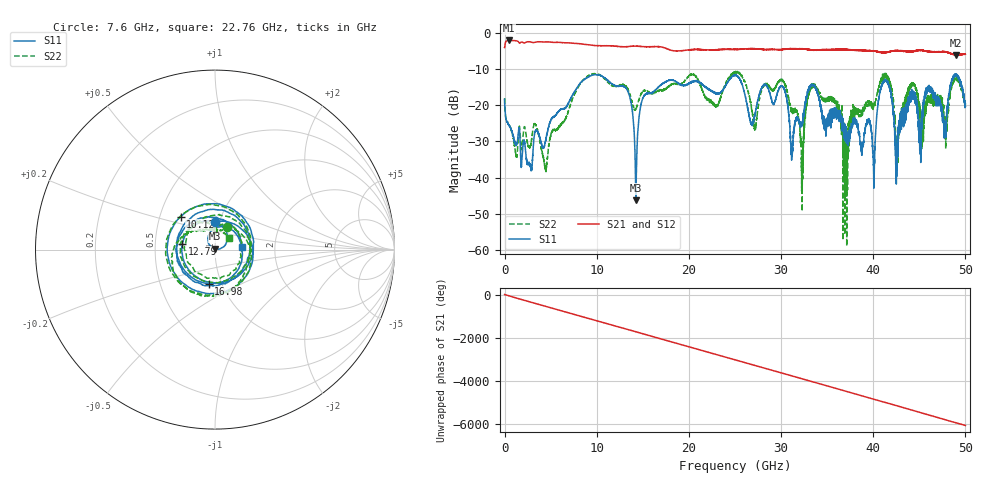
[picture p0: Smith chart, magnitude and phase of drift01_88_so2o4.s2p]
!Created with skrf (http://scikit-rf.org).
# Hz S RI R 50.0
!freq ReS11 ImS11 ReS21 ImS21 ReS12 ImS12 ReS22 ImS22
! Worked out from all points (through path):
!   10001 points, 300 kHz to 50 GHz, reference 50 ohm
!   highest |S21| = -2.00 dB at 490.3 MHz (marker M1); lowest = -6.1 dB at 48.98 GHz (marker M2)
!   group delay of S21, straight-line fit = 336 ps
!   lowest |S11| = -46.3 dB at 14.25 GHz (marker M3), VSWR 1.01, Z = 50.1 + j0.481 ohm
!   |S11| at or under -10 dB: start of sweep to end of sweep
!   |S22| runs from -59.0 to -10.6 dB; largest |S21 - S12| = 0.021
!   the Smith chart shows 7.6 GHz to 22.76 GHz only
!   S11 on the Smith chart (normalised r, x): 7.6 GHz: 0.95, +0.30; 10.12 GHz: 0.64, +0.25; 12.79 GHz: 0.69, +0.05; 16.98 GHz: 0.87, -0.34; 22.76 GHz: 1.35, +0.04
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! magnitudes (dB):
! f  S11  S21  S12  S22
! 300 kHz  -18.3  -4.0  -4.1  -18.1
! 490.3 MHz  -25.6  -2.0  -2.0  -25.5
! 4.435 GHz  -30.0  -2.4  -2.4  -37.3
! 7.6 GHz  -16.2  -2.8  -2.8  -16.8
! 8.335 GHz  -13.5  -3.0  -3.0  -13.5
! 10.12 GHz  -11.5  -3.4  -3.4  -11.4
! 12.79 GHz  -14.7  -3.7  -3.8  -14.3
! 14.25 GHz  -46.3  -3.6  -3.6  -21.1
! 16.67 GHz  -14.9  -3.7  -3.7  -15.8
! 16.98 GHz  -14.2  -3.8  -3.8  -15.6
! 22.76 GHz  -16.4  -4.7  -4.6  -20.1
! 25 GHz  -11.6  -4.5  -4.5  -10.9
! 27.15 GHz  -22.6  -4.3  -4.3  -26.2
! 30.2 GHz  -14.9  -4.5  -4.5  -13.2
! 32.25 GHz  -25.0  -4.4  -4.3  -37.9
! 33.34 GHz  -14.2  -4.6  -4.6  -15.0
! 36.96 GHz  -27.7  -4.6  -4.6  -36.8
! 40.06 GHz  -41.0  -4.9  -4.9  -20.3
! 41.67 GHz  -14.1  -5.1  -5.1  -13.1
! 42.56 GHz  -36.1  -4.9  -4.8  -29.1
! 48.98 GHz  -11.3  -6.1  -6.0  -12.6
! 50 GHz  -20.3  -5.8  -5.8  -19.6
